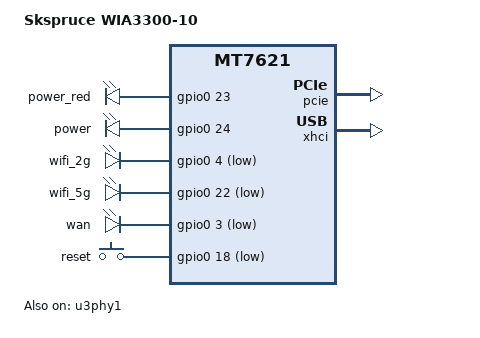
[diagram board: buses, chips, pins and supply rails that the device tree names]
/dts-v1/;

#include "mt7621.dtsi"
#include <dt-bindings/input/input.h>
#include "mt7621-spi-32m-layout.dtsi"
#include "mt7621-raeth-gmac2.dtsi"
#include "mt7621-pinctrl-default-gpio.dtsi"

/ {
	compatible = "mediatek,mt7621-soc";
	model = "Skspruce WIA3300-10";

	chosen {
		bootargs = "console=ttyS0,57600";
	};

	leds {
		compatible = "gpio-leds";

		sys_red {
			label = "power_red";
			gpios = <&gpio0 23 GPIO_ACTIVE_HIGH>;
		};
		
		sys_green {
			label = "power";
			gpios = <&gpio0 24 GPIO_ACTIVE_HIGH>;
		};

		wifi_2g {
			label = "wifi_2g";
			gpios = <&gpio0 4 GPIO_ACTIVE_LOW>;
		};

		wifi_5g {
			label = "wifi_5g";
			gpios = <&gpio0 22 GPIO_ACTIVE_LOW>;
		};
		
		wan {
			label = "wan";
			gpios = <&gpio0 3 GPIO_ACTIVE_LOW>;
		};
	};

	gpio-keys-polled {
		compatible = "gpio-keys-polled";
		#address-cells = <1>;
		#size-cells = <0>;
		poll-interval = <20>;

		reset {
			label = "reset";
			gpios = <&gpio0 18 GPIO_ACTIVE_LOW>;
			linux,code = <KEY_RESTART>;
		};
	};
};

&pcie {
	status = "okay";
};

&xhci {
	status = "okay";
};

&u3phy1 {
	status = "okay";
};
